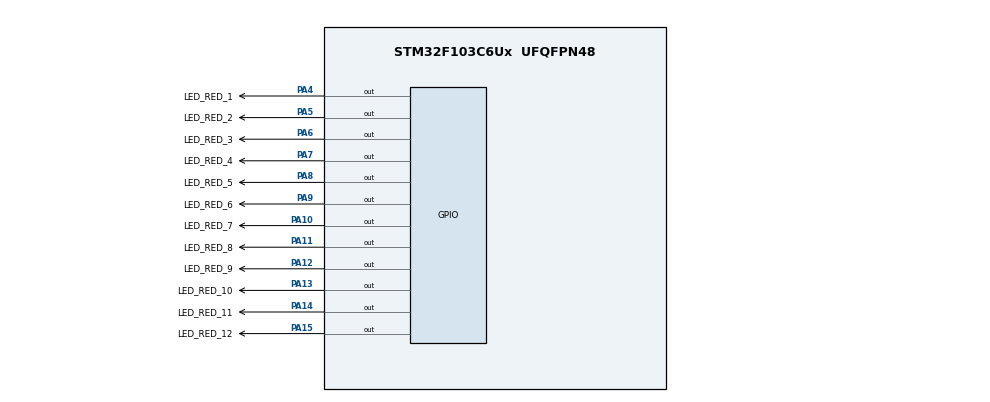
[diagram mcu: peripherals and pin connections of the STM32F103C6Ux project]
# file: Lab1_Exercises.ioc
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Mcu.Family=STM32F1
Mcu.Name=STM32F103C6Ux
Mcu.Package=UFQFPN48
NVIC.PriorityGroup=NVIC_PRIORITYGROUP_4
PA10.GPIO_Label=LED_RED_7
PA10.Signal=GPIO_Output
PA11.GPIO_Label=LED_RED_8
PA11.Signal=GPIO_Output
PA12.GPIO_Label=LED_RED_9
PA12.Signal=GPIO_Output
PA13.GPIO_Label=LED_RED_10
PA13.Signal=GPIO_Output
PA14.GPIO_Label=LED_RED_11
PA14.Signal=GPIO_Output
PA15.GPIO_Label=LED_RED_12
PA15.Signal=GPIO_Output
PA4.GPIO_Label=LED_RED_1
PA4.Signal=GPIO_Output
PA5.GPIO_Label=LED_RED_2
PA5.Signal=GPIO_Output
PA6.GPIO_Label=LED_RED_3
PA6.Signal=GPIO_Output
PA7.GPIO_Label=LED_RED_4
PA7.Signal=GPIO_Output
PA8.GPIO_Label=LED_RED_5
PA8.Signal=GPIO_Output
PA9.GPIO_Label=LED_RED_6
PA9.Signal=GPIO_Output
ProjectManager.HeapSize=0x200
ProjectManager.StackSize=0x400
ProjectManager.TargetToolchain=STM32CubeIDE
RCC.APB1Freq_Value=8000000
RCC.APB2Freq_Value=8000000
VP_SYS_VS_ND.Mode=No_Debug
board=custom

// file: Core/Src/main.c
/* USER CODE BEGIN Header */
/**
  ******************************************************************************
  * @file           : main.c
  * @brief          : Main program body
  ******************************************************************************
  * @attention
  *
  * <h2><center>&copy; Copyright (c) 2023 STMicroelectronics.
  * All rights reserved.</center></h2>
  *
  * This software component is licensed by ST under BSD 3-Clause license,
  * the "License"; You may not use this file except in compliance with the
  * License. You may obtain a copy of the License at:
  *                        opensource.org/licenses/BSD-3-Clause
  *
  ******************************************************************************
  */
/* USER CODE END Header */
#include "main.h"

void SystemClock_Config(void);
static void MX_GPIO_Init(void);

/* USER CODE BEGIN 0 */
void clearAllClock() {
	 HAL_GPIO_WritePin(LED_RED_1_GPIO_Port, LED_RED_1_Pin, SET);
	 HAL_GPIO_WritePin(LED_RED_2_GPIO_Port, LED_RED_2_Pin, SET);
	 HAL_GPIO_WritePin(LED_RED_3_GPIO_Port, LED_RED_3_Pin, SET);
	 HAL_GPIO_WritePin(LED_RED_4_GPIO_Port, LED_RED_4_Pin, SET);
	 HAL_GPIO_WritePin(LED_RED_5_GPIO_Port, LED_RED_5_Pin, SET);
	 HAL_GPIO_WritePin(LED_RED_6_GPIO_Port, LED_RED_6_Pin, SET);
	 HAL_GPIO_WritePin(LED_RED_7_GPIO_Port, LED_RED_7_Pin, SET);
	 HAL_GPIO_WritePin(LED_RED_8_GPIO_Port, LED_RED_8_Pin, SET);
	 HAL_GPIO_WritePin(LED_RED_9_GPIO_Port, LED_RED_9_Pin, SET);
	 HAL_GPIO_WritePin(LED_RED_10_GPIO_Port, LED_RED_10_Pin, SET);
	 HAL_GPIO_WritePin(LED_RED_11_GPIO_Port, LED_RED_11_Pin, SET);
	 HAL_GPIO_WritePin(LED_RED_12_GPIO_Port, LED_RED_12_Pin, SET);
	 return;
}

void setNumberOnClock(int num) {
	if(num == 1) {
		HAL_GPIO_WritePin(LED_RED_1_GPIO_Port, LED_RED_1_Pin, RESET);
	}
	else if(num == 2) {
		HAL_GPIO_WritePin(LED_RED_2_GPIO_Port, LED_RED_2_Pin, RESET);
	}
	else if(num == 3) {
		HAL_GPIO_WritePin(LED_RED_3_GPIO_Port, LED_RED_3_Pin, RESET);
	}
	else if(num == 4) {
		HAL_GPIO_WritePin(LED_RED_4_GPIO_Port, LED_RED_4_Pin, RESET);
	}
	else if(num == 5) {
		HAL_GPIO_WritePin(LED_RED_5_GPIO_Port, LED_RED_5_Pin, RESET);
	}
	else if(num == 6) {
		HAL_GPIO_WritePin(LED_RED_6_GPIO_Port, LED_RED_6_Pin, RESET);
	}
	else if(num == 7) {
		HAL_GPIO_WritePin(LED_RED_7_GPIO_Port, LED_RED_7_Pin, RESET);
	}
	else if(num == 8) {
		HAL_GPIO_WritePin(LED_RED_8_GPIO_Port, LED_RED_8_Pin, RESET);
	}
	else if(num == 9) {
		HAL_GPIO_WritePin(LED_RED_9_GPIO_Port, LED_RED_9_Pin, RESET);
	}
	else if(num == 10) {
		HAL_GPIO_WritePin(LED_RED_10_GPIO_Port, LED_RED_10_Pin, RESET);
	}
	else if(num == 11) {
		HAL_GPIO_WritePin(LED_RED_11_GPIO_Port, LED_RED_11_Pin, RESET);
	}
	else if(num == 12) {
		HAL_GPIO_WritePin(LED_RED_12_GPIO_Port, LED_RED_12_Pin, RESET);
	}
	return;
}

void clearNumberOnClock(int num) {
	if(num == 1) {
		HAL_GPIO_WritePin(LED_RED_1_GPIO_Port, LED_RED_1_Pin, SET);
	}
	else if(num == 2) {
		HAL_GPIO_WritePin(LED_RED_2_GPIO_Port, LED_RED_2_Pin, SET);
	}
	else if(num == 3) {
		HAL_GPIO_WritePin(LED_RED_3_GPIO_Port, LED_RED_3_Pin, SET);
	}
	else if(num == 4) {
		HAL_GPIO_WritePin(LED_RED_4_GPIO_Port, LED_RED_4_Pin, SET);
	}
	else if(num == 5) {
		HAL_GPIO_WritePin(LED_RED_5_GPIO_Port, LED_RED_5_Pin, SET);
	}
	else if(num == 6) {
		HAL_GPIO_WritePin(LED_RED_6_GPIO_Port, LED_RED_6_Pin, SET);
	}
	else if(num == 7) {
		HAL_GPIO_WritePin(LED_RED_7_GPIO_Port, LED_RED_7_Pin, SET);
	}
	else if(num == 8) {
		HAL_GPIO_WritePin(LED_RED_8_GPIO_Port, LED_RED_8_Pin, SET);
	}
	else if(num == 9) {
		HAL_GPIO_WritePin(LED_RED_9_GPIO_Port, LED_RED_9_Pin, SET);
	}
	else if(num == 10) {
		HAL_GPIO_WritePin(LED_RED_10_GPIO_Port, LED_RED_10_Pin, SET);
	}
	else if(num == 11) {
		HAL_GPIO_WritePin(LED_RED_11_GPIO_Port, LED_RED_11_Pin, SET);
	}
	else if(num == 12 || num == 0) {
		HAL_GPIO_WritePin(LED_RED_12_GPIO_Port, LED_RED_12_Pin, SET);
	}
	return;
}
/* USER CODE END 0 */

int main(void)
{
  /* USER CODE BEGIN 1 */
	// TO DO abcdef

  /* USER CODE END 1 */

  /* MCU Configuration--------------------------------------------------------*/

  /* Reset of all peripherals, Initializes the Flash interface and the Systick. */
  HAL_Init();

  /* Configure the system clock */
  SystemClock_Config();

  /* Initialize all configured peripherals */
  MX_GPIO_Init();

  /* Infinite loop */
  /* USER CODE BEGIN WHILE */
  int counter = 0;
  int counter2 = 13;
  while (1)
  {
	  if(counter == 0) clearAllClock();
	  if(counter <= 12) {
		  setNumberOnClock(counter++);
	  }
	  else {
		  clearNumberOnClock(counter2--);
		  if(counter2 == 0) {
			  counter = 0;
			  counter2 = 13;
		  }
	  }
	  HAL_Delay(1000);
    /* USER CODE END WHILE */

  }
}

void SystemClock_Config(void)
{
  RCC_OscInitTypeDef RCC_OscInitStruct = {0};
  RCC_ClkInitTypeDef RCC_ClkInitStruct = {0};

  /** Initializes the RCC Oscillators according to the specified parameters
  * in the RCC_OscInitTypeDef structure.
  */
  RCC_OscInitStruct.OscillatorType = RCC_OSCILLATORTYPE_HSI;
  RCC_OscInitStruct.HSIState = RCC_HSI_ON;
  RCC_OscInitStruct.HSICalibrationValue = RCC_HSICALIBRATION_DEFAULT;
  RCC_OscInitStruct.PLL.PLLState = RCC_PLL_NONE;
  if (HAL_RCC_OscConfig(&RCC_OscInitStruct) != HAL_OK)
  {
    Error_Handler();
  }
  /** Initializes the CPU, AHB and APB buses clocks
  */
  RCC_ClkInitStruct.ClockType = RCC_CLOCKTYPE_HCLK|RCC_CLOCKTYPE_SYSCLK
                              |RCC_CLOCKTYPE_PCLK1|RCC_CLOCKTYPE_PCLK2;
  RCC_ClkInitStruct.SYSCLKSource = RCC_SYSCLKSOURCE_HSI;
  RCC_ClkInitStruct.AHBCLKDivider = RCC_SYSCLK_DIV1;
  RCC_ClkInitStruct.APB1CLKDivider = RCC_HCLK_DIV1;
  RCC_ClkInitStruct.APB2CLKDivider = RCC_HCLK_DIV1;

  if (HAL_RCC_ClockConfig(&RCC_ClkInitStruct, FLASH_LATENCY_0) != HAL_OK)
  {
    Error_Handler();
  }
}

static void MX_GPIO_Init(void)
{
  GPIO_InitTypeDef GPIO_InitStruct = {0};

  /* GPIO Ports Clock Enable */
  __HAL_RCC_GPIOA_CLK_ENABLE();

  /*Configure GPIO pin Output Level */
  HAL_GPIO_WritePin(GPIOA, LED_RED_1_Pin|LED_RED_2_Pin|LED_RED_3_Pin|LED_RED_4_Pin
                          |LED_RED_5_Pin|LED_RED_6_Pin|LED_RED_7_Pin|LED_RED_8_Pin
                          |LED_RED_9_Pin|LED_RED_10_Pin|LED_RED_11_Pin|LED_RED_12_Pin, GPIO_PIN_RESET);

  /*Configure GPIO pins : LED_RED_1_Pin LED_RED_2_Pin LED_RED_3_Pin LED_RED_4_Pin
                           LED_RED_5_Pin LED_RED_6_Pin LED_RED_7_Pin LED_RED_8_Pin
                           LED_RED_9_Pin LED_RED_10_Pin LED_RED_11_Pin LED_RED_12_Pin */
  GPIO_InitStruct.Pin = LED_RED_1_Pin|LED_RED_2_Pin|LED_RED_3_Pin|LED_RED_4_Pin
                          |LED_RED_5_Pin|LED_RED_6_Pin|LED_RED_7_Pin|LED_RED_8_Pin
                          |LED_RED_9_Pin|LED_RED_10_Pin|LED_RED_11_Pin|LED_RED_12_Pin;
  GPIO_InitStruct.Mode = GPIO_MODE_OUTPUT_PP;
  GPIO_InitStruct.Pull = GPIO_NOPULL;
  GPIO_InitStruct.Speed = GPIO_SPEED_FREQ_LOW;
  HAL_GPIO_Init(GPIOA, &GPIO_InitStruct);

}

void Error_Handler(void)
{
  __disable_irq();
  while (1)
  {
  }
}

/************************ (C) COPYRIGHT STMicroelectronics *****END OF FILE****/
